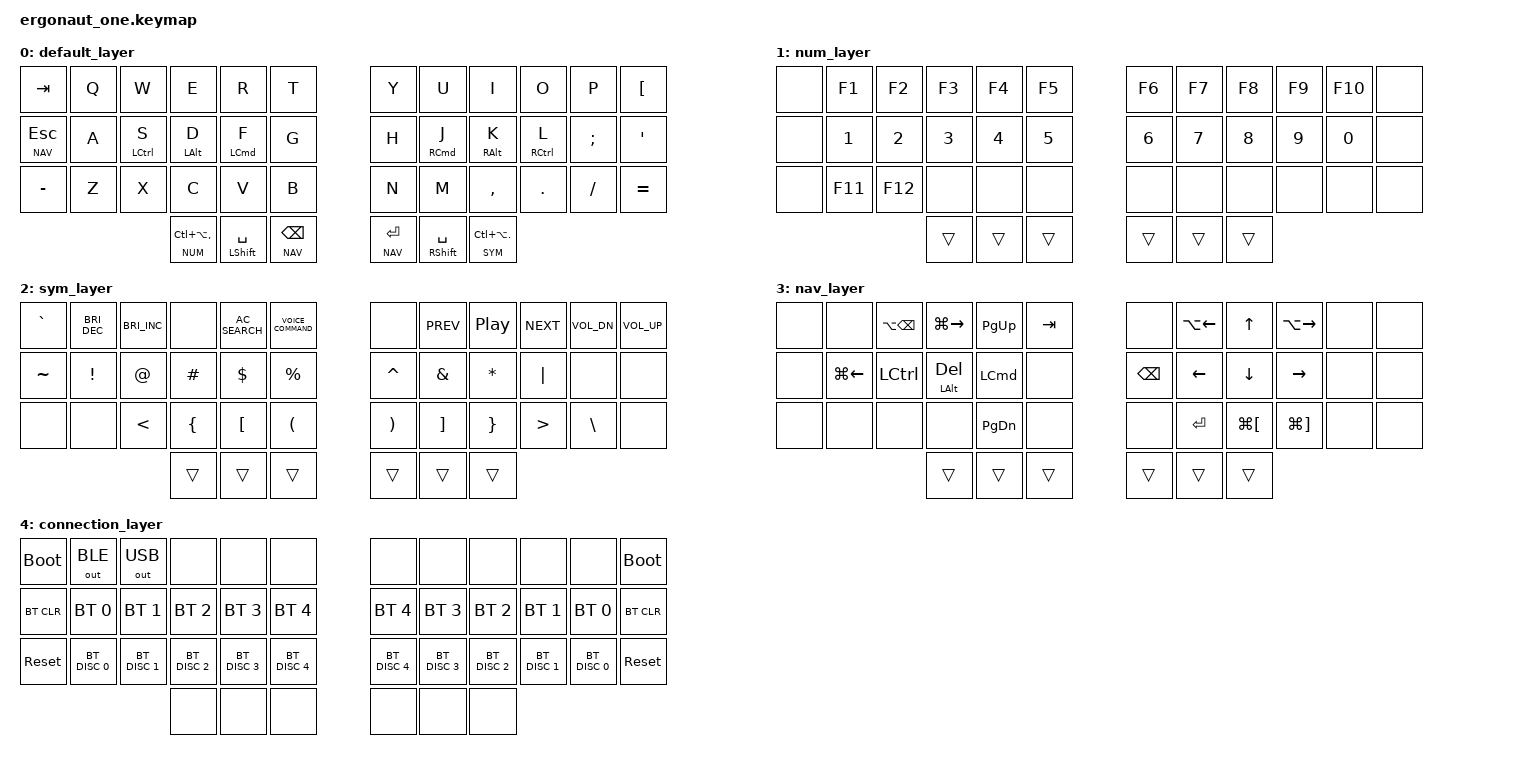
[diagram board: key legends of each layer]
#include <behaviors.dtsi>
#include <dt-bindings/zmk/keys.h>
#include <dt-bindings/zmk/bt.h>
#include <dt-bindings/zmk/outputs.h>

#define DEF 0
#define NUM 1
#define SYM 2
#define NAV 3
#define CON 4

&lt {
    quick-tap-ms = <150>;
};

&mt {
    quick-tap-ms = <200>;
};

/ {
    behaviors {
        hmt: homerow_mods {
            compatible = "zmk,behavior-hold-tap";
            #binding-cells = <2>;
            tapping-term-ms = <250>;
            quick-tap-ms = <0>;
            flavor = "tap-preferred";
            bindings = <&kp>, <&kp>;
        };
    };

    combos {
        compatible = "zmk,combos";
        combo_con_layer_l {
            layers = <DEF>;
            key-positions = <36 37 38>;
            bindings = <&mo CON>;
        };
        combo_con_layer_r {
            layers = <DEF>;
            key-positions = <39 40 41>;
            bindings = <&mo CON>;
        };
    };

    keymap {
        compatible = "zmk,keymap";

        default_layer {
            bindings = <
&kp TAB         &kp Q           &kp W           &kp E           &kp R           &kp T                   &kp Y           &kp U           &kp I           &kp O           &kp P           &kp LBKT
&lt NAV ESC     &kp A           &hmt LCTRL S    &hmt LALT D     &hmt LCMD F     &kp G                   &kp H           &hmt RCMD J     &hmt RALT K     &hmt RCTRL L    &kp SEMI        &kp SQT
&kp MINUS       &kp Z           &kp X           &kp C           &kp V           &kp B                   &kp N           &kp M           &kp COMMA       &kp DOT         &kp FSLH        &kp EQUAL
                                          &lt NUM LC(LA(COMMA)) &mt LSHFT SPACE &lt NAV BSPC            &lt NAV RET     &mt RSHFT SPACE &lt SYM LC(LA(PERIOD))
            >;
        };

        num_layer {
            bindings = <
&none           &kp F1          &kp F2          &kp F3          &kp F4          &kp F5                  &kp F6          &kp F7          &kp F8          &kp F9          &kp F10         &none
&none           &kp N1          &kp N2          &kp N3          &kp N4          &kp N5                  &kp N6          &kp N7          &kp N8          &kp N9          &kp N0          &none
&none           &kp F11         &kp F12         &none           &none           &none                   &none           &none           &none           &none           &none           &none
                                                &trans          &trans          &trans                  &trans          &trans          &trans
            >;
        };

        sym_layer {
            bindings = <
&kp GRAVE       &kp C_BRI_DEC   &kp C_BRI_INC   &none           &kp C_AC_SEARCH &kp C_VOICE_COMMAND     &none           &kp C_PREV      &kp C_PP        &kp C_NEXT      &kp C_VOL_DN    &kp C_VOL_UP
&kp TILDE       &kp EXCLAMATION &kp AT_SIGN     &kp HASH        &kp DOLLAR      &kp PERCENT             &kp CARET       &kp AMPERSAND   &kp ASTERISK    &kp PIPE        &none           &none
&none           &none           &kp LT          &kp LBRC        &kp LBKT        &kp LPAR                &kp RPAR        &kp RBKT        &kp RBRC        &kp GT          &kp BSLH        &none
                                                &trans          &trans          &trans                  &trans          &trans          &trans
            >;
        };

        nav_layer {
            bindings = <
&none           &none           &kp LA(BSPC)    &kp LG(RIGHT)   &kp PG_UP       &kp TAB                 &none           &kp LA(LEFT)    &kp UP          &kp LA(RIGHT)   &none           &none
&none           &kp LG(LEFT)    &kp LCTRL       &hmt LALT DEL   &kp LCMD        &none                   &kp BSPC        &kp LEFT        &kp DOWN        &kp RIGHT       &none           &none
&none           &none           &none           &none           &kp PG_DN       &none                   &none           &kp RET         &kp LG(LBKT)    &kp LG(RBKT)    &none           &none
                                                &trans          &trans          &trans                  &trans          &trans          &trans
            >;
        };

        connection_layer {
            bindings = <
&bootloader     &out OUT_BLE    &out OUT_USB    &none           &none           &none                   &none           &none           &none           &none           &none           &bootloader
&bt BT_CLR      &bt BT_SEL 0    &bt BT_SEL 1    &bt BT_SEL 2    &bt BT_SEL 3    &bt BT_SEL 4            &bt BT_SEL 4    &bt BT_SEL 3    &bt BT_SEL 2    &bt BT_SEL 1    &bt BT_SEL 0    &bt BT_CLR
&sys_reset      &bt BT_DISC 0   &bt BT_DISC 1   &bt BT_DISC 2   &bt BT_DISC 3   &bt BT_DISC 4           &bt BT_DISC 4   &bt BT_DISC 3   &bt BT_DISC 2   &bt BT_DISC 1   &bt BT_DISC 0   &sys_reset
                                                &none           &none           &none                   &none           &none           &none
            >;
        };
    };
};
